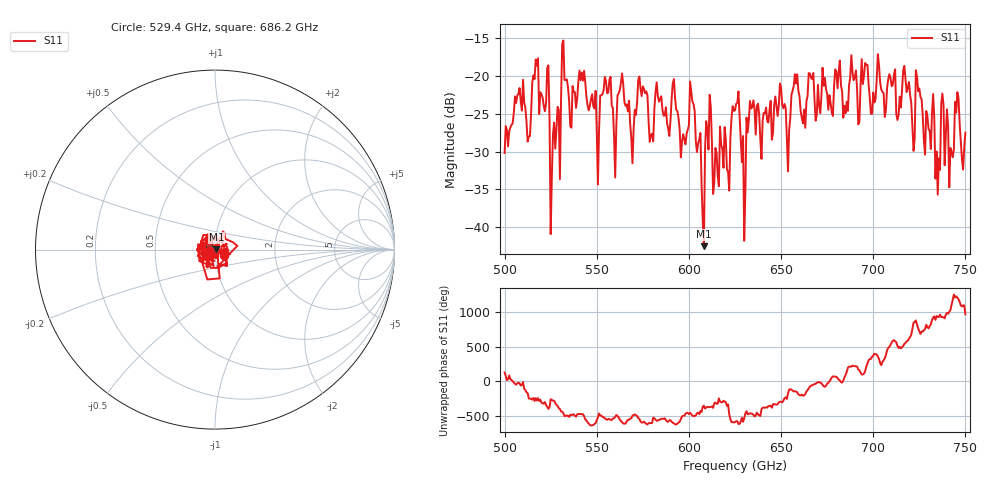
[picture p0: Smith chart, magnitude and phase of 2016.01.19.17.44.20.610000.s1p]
!Created with skrf (http://scikit-rf.org).
# GHz S RI R 50.0
!freq ReS11 ImS11
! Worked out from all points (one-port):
!   401 points, 500 GHz to 750 GHz, reference 50 ohm
!   lowest |S11| = -42.5 dB at 608.1 GHz (marker M1), VSWR 1.02, Z = 50.7 + j0.0989 ohm
!   |S11| at or under -10 dB: start of sweep to end of sweep
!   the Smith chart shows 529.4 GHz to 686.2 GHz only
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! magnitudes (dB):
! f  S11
! 500 GHz  -30.2
! 506.9 GHz  -22.6
! 513.1 GHz  -28.0
! 516.9 GHz  -17.8
! 526.2 GHz  -27.7
! 531.2 GHz  -15.8
! 550 GHz  -27.4
! 556.2 GHz  -22.2
! 559.4 GHz  -28.0
! 562.5 GHz  -21.8
! 569.4 GHz  -31.6
! 573.8 GHz  -21.7
! 579.4 GHz  -27.8
! 593.8 GHz  -24.6
! 601.9 GHz  -23.4
! 608.1 GHz  -42.5
! 610.6 GHz  -29.7
! 614.4 GHz  -29.5
! 625 GHz  -24.6
! 629.4 GHz  -28.0
! 634.4 GHz  -24.1
! 653.8 GHz  -32.6
! 656.2 GHz  -22.0
! 687.5 GHz  -20.2
! 718.8 GHz  -21.5
! 735 GHz  -35.7
! 745.6 GHz  -22.1
! 750 GHz  -27.5
